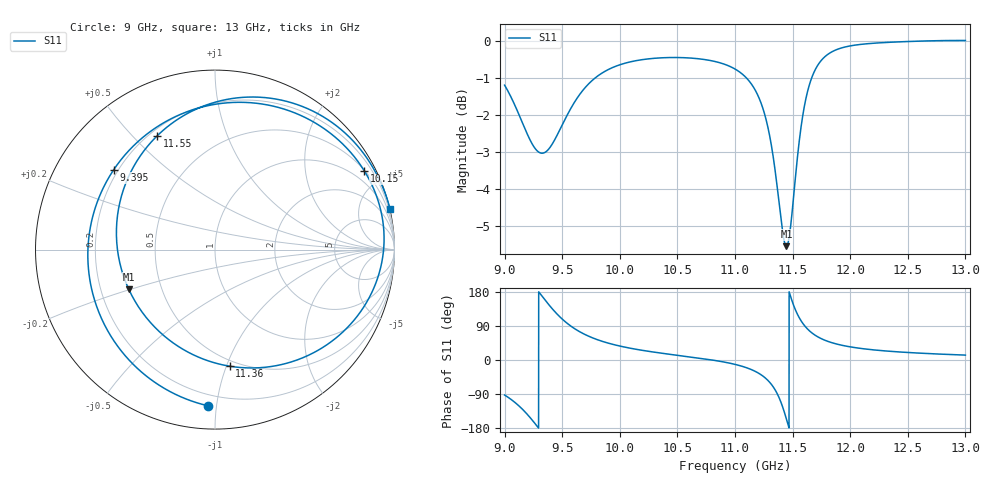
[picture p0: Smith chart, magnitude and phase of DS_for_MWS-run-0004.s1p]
! TOUCHSTONE file generated by CST DESIGN STUDIO
! Date and time: Tue Feb  4 16:19:24 2025
! Project name: C:\Work\MatlabApps\UnitCellOptimizationMatlab\CST\unitcell.cst
! Tree item: Tasks\Sweep1\SPara1\S-Parameters
! Header version: 2024
! Port assignment regex: !\s*Touchstone port\s*([0-9]+)\s*=\s*(CST MWS port|CST DES external port|CST DES block port)\s*(.+)\s* \(\"(.*)\"\)(\s*mode\s*([0-9]+))?.*
! Touchstone port assignment:
! Touchstone port 1 = CST DES external port 1 ("")
# GHz S MA R 50
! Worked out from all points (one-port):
!   4001 points, 9 GHz to 13 GHz, reference 50 ohm
!   lowest |S11| = -5.5 dB at 11.45 GHz (marker M1), VSWR 3.24, Z = 16.1 - j9.85 ohm
!   |S11| at or under -10 dB: nowhere
!   S11 on the Smith chart (normalised r, x): 9 GHz: 0.13, -0.95; 9.395 GHz: 0.18, +0.34; 10.15 GHz: 0.53, +3.99; 11.36 GHz: 0.45, -1.03; 11.55 GHz: 0.23, +0.59; 13 GHz: -0.02, +8.84
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9  0.8712 -92.5
9.122  0.7969 -120.4
9.239  0.7262 -158.3
9.315  0.7058 172.4
9.395  0.7186 141.8
9.5  0.77 108.0
9.6  0.8231 84.2
9.731  0.8752 62.6
9.855  0.9063 48.6
10  0.928 36.8
10.152  0.9406 27.7
10.5  0.9491 12.4
11  0.9159 -11.5
11.125  0.8815 -23.2
11.217  0.8312 -37.1
11.29  0.759 -55.2
11.356  0.6546 -82.9
11.402  0.5701 -114.0
11.446  0.5288 -155.3
11.473  0.5473 177.0
11.5  0.5966 151.7
11.548  0.7107 117.1
11.619  0.8404 85.2
11.73  0.9324 59.2
11.844  0.9666 45.4
12  0.9839 34.7
12.5  0.9974 19.8
13  1.001 12.9
